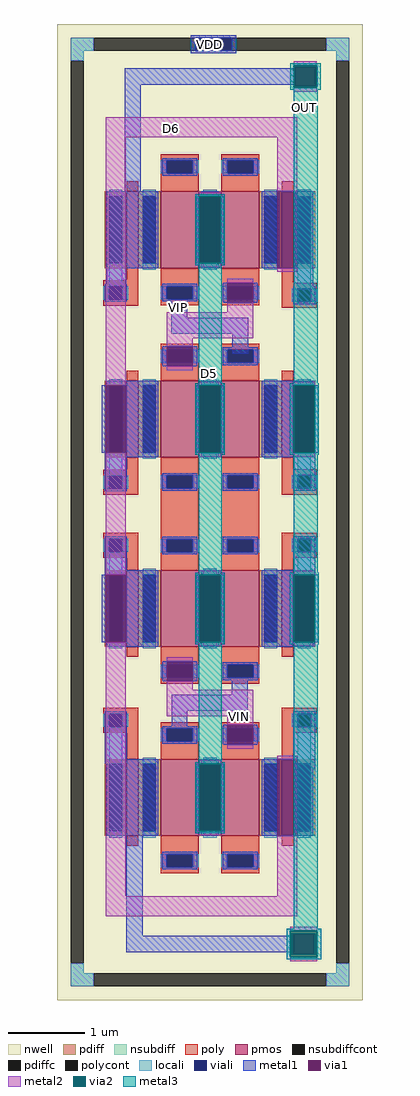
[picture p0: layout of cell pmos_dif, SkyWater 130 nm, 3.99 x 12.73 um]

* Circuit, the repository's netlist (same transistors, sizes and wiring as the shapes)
* NGSPICE file created from pmos_dif.ext - technology: sky130A

.subckt sky130_fd_pr__pfet_01v8_BHVYY6 w_n223_n200# a_n29_n100# a_n187_n100# a_29_n197#
+ a_n129_n197# a_129_n100#
X0 a_129_n100# a_29_n197# a_n29_n100# w_n223_n200# sky130_fd_pr__pfet_01v8 ad=0.29 pd=2.58 as=0.145 ps=1.29 w=1 l=0.5
X1 a_n29_n100# a_n129_n197# a_n187_n100# w_n223_n200# sky130_fd_pr__pfet_01v8 ad=0.145 pd=1.29 as=0.29 ps=2.58 w=1 l=0.5
.ends

.subckt sky130_fd_pr__pfet_01v8_2XUZHN a_n73_n100# w_n109_n162# a_15_n100# a_n15_n126#
X0 a_15_n100# a_n15_n126# a_n73_n100# w_n109_n162# sky130_fd_pr__pfet_01v8 ad=0.29 pd=2.58 as=0.29 ps=2.58 w=1 l=0.15
.ends

.subckt pmos_dif VDD D6 OUT VIP D5 VIN
Xsky130_fd_pr__pfet_01v8_BHVYY6_2 VDD D5 OUT VIN VIP D6 sky130_fd_pr__pfet_01v8_BHVYY6
Xsky130_fd_pr__pfet_01v8_BHVYY6_3 VDD D5 D6 VIP VIN OUT sky130_fd_pr__pfet_01v8_BHVYY6
Xsky130_fd_pr__pfet_01v8_2XUZHN_0 OUT VDD OUT OUT sky130_fd_pr__pfet_01v8_2XUZHN
Xsky130_fd_pr__pfet_01v8_2XUZHN_1 D6 VDD D6 D6 sky130_fd_pr__pfet_01v8_2XUZHN
Xsky130_fd_pr__pfet_01v8_2XUZHN_2 D6 VDD D6 D6 sky130_fd_pr__pfet_01v8_2XUZHN
Xsky130_fd_pr__pfet_01v8_2XUZHN_3 OUT VDD OUT OUT sky130_fd_pr__pfet_01v8_2XUZHN
Xsky130_fd_pr__pfet_01v8_2XUZHN_4 D6 VDD D6 D6 sky130_fd_pr__pfet_01v8_2XUZHN
Xsky130_fd_pr__pfet_01v8_2XUZHN_5 OUT VDD OUT OUT sky130_fd_pr__pfet_01v8_2XUZHN
Xsky130_fd_pr__pfet_01v8_2XUZHN_7 D6 VDD D6 D6 sky130_fd_pr__pfet_01v8_2XUZHN
Xsky130_fd_pr__pfet_01v8_2XUZHN_6 OUT VDD OUT OUT sky130_fd_pr__pfet_01v8_2XUZHN
Xsky130_fd_pr__pfet_01v8_BHVYY6_0 VDD D5 OUT VIN VIP D6 sky130_fd_pr__pfet_01v8_BHVYY6
Xsky130_fd_pr__pfet_01v8_BHVYY6_1 VDD D5 D6 VIP VIN OUT sky130_fd_pr__pfet_01v8_BHVYY6
.ends

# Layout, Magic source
magic
tech sky130A
magscale 1 2
<< nwell >>
rect -176 504 622 1231
rect -176 495 281 504
rect 323 495 622 504
rect -176 -1316 622 495
<< nsubdiff >>
rect -140 1161 -80 1195
rect 526 1161 586 1195
rect -140 1135 -106 1161
rect 552 1135 586 1161
rect -140 -1246 -106 -1220
rect 552 -1246 586 -1220
rect -140 -1280 -80 -1246
rect 526 -1280 586 -1246
<< nsubdiffcont >>
rect -80 1161 526 1195
rect -140 -1220 -106 1135
rect 552 -1220 586 1135
rect -80 -1280 526 -1246
<< poly >>
rect 6 562 36 595
rect -56 546 36 562
rect -56 512 -40 546
rect -6 512 36 546
rect -56 496 36 512
rect 410 556 440 585
rect 410 540 502 556
rect 410 506 452 540
rect 486 506 502 540
rect 410 490 502 506
rect 6 68 36 90
rect -56 52 36 68
rect -56 18 -40 52
rect -6 18 36 52
rect -56 2 36 18
rect 410 69 440 96
rect 410 53 502 69
rect 410 19 452 53
rect 486 19 502 53
rect -56 -112 36 -96
rect 94 -104 194 8
rect 252 -103 352 9
rect 410 3 502 19
rect -56 -146 -40 -112
rect -6 -146 36 -112
rect -56 -162 36 -146
rect 6 -194 36 -162
rect 410 -112 502 -96
rect 410 -146 452 -112
rect 486 -146 502 -112
rect 410 -162 502 -146
rect 410 -188 440 -162
rect -56 -569 36 -553
rect -56 -603 -40 -569
rect -6 -603 36 -569
rect -56 -619 36 -603
rect 6 -680 36 -619
rect 410 -569 502 -553
rect 410 -603 452 -569
rect 486 -603 502 -569
rect 410 -619 502 -603
rect 410 -672 441 -619
<< polycont >>
rect -40 512 -6 546
rect 452 506 486 540
rect -40 18 -6 52
rect 452 19 486 53
rect -40 -146 -6 -112
rect 452 -146 486 -112
rect -40 -603 -6 -569
rect 452 -603 486 -569
<< locali >>
rect -140 1161 -80 1195
rect 526 1161 586 1195
rect -140 1135 -106 1161
rect 552 1135 586 1161
rect -40 546 -6 595
rect -56 512 -40 546
rect -6 512 10 546
rect 452 540 486 609
rect 436 506 452 540
rect 486 506 502 540
rect -40 52 -6 107
rect 452 53 486 112
rect -56 18 -40 52
rect -6 18 10 52
rect 436 19 452 53
rect 486 19 502 53
rect -56 -146 -40 -112
rect -6 -146 10 -112
rect 436 -146 452 -112
rect 486 -146 502 -112
rect -40 -200 -6 -146
rect 452 -198 486 -146
rect -56 -603 -40 -569
rect -6 -603 10 -569
rect 436 -603 452 -569
rect 486 -603 502 -569
rect -40 -693 -6 -603
rect 452 -695 486 -603
rect -140 -1246 -106 -1220
rect 552 -1246 586 -1220
rect -140 -1280 -80 -1246
rect 526 -1280 586 -1246
<< viali >>
rect 185 1161 280 1195
rect -40 512 -6 546
rect 452 506 486 540
rect -40 18 -6 52
rect 452 19 486 53
rect -40 -146 -6 -112
rect 452 -146 486 -112
rect -40 -603 -6 -569
rect 452 -603 486 -569
<< metal1 >>
rect 173 1195 292 1201
rect 173 1161 185 1195
rect 280 1161 292 1195
rect 173 1155 292 1161
rect 440 1115 446 1120
rect 0 1073 446 1115
rect 0 794 42 1073
rect 440 1068 446 1073
rect 498 1068 504 1120
rect -46 594 88 794
rect 187 606 197 782
rect 249 606 259 782
rect 358 594 399 794
rect 451 594 492 794
rect -46 552 4 594
rect -52 546 6 552
rect -52 512 -40 546
rect -6 512 6 546
rect -52 506 6 512
rect 122 465 164 513
rect 258 504 268 556
rect 336 504 346 556
rect 442 546 492 594
rect 440 540 498 546
rect 440 506 452 540
rect 486 506 498 540
rect 440 500 498 506
rect 122 423 323 465
rect 100 338 110 390
rect 178 338 188 390
rect 281 371 323 423
rect -46 288 88 300
rect 358 288 492 300
rect -59 112 -49 288
rect 3 112 88 288
rect 187 112 197 288
rect 249 112 259 288
rect 358 112 443 288
rect 495 112 505 288
rect -52 100 88 112
rect 358 100 498 112
rect -52 52 6 100
rect -52 18 -40 52
rect -6 18 6 52
rect -52 12 6 18
rect 440 53 498 100
rect 440 19 452 53
rect 486 19 498 53
rect 440 13 498 19
rect -52 -112 6 -106
rect -52 -146 -40 -112
rect -6 -146 6 -112
rect -52 -194 6 -146
rect 440 -112 498 -106
rect 440 -146 452 -112
rect 486 -146 498 -112
rect 440 -194 498 -146
rect -52 -206 88 -194
rect 358 -206 498 -194
rect -59 -382 -49 -206
rect 3 -382 88 -206
rect 187 -382 197 -206
rect 249 -382 259 -206
rect 358 -382 443 -206
rect 495 -382 505 -206
rect -46 -394 88 -382
rect 358 -394 492 -382
rect 100 -484 110 -432
rect 178 -484 188 -432
rect 280 -520 321 -478
rect 123 -561 321 -520
rect -52 -569 6 -563
rect -52 -603 -40 -569
rect -6 -603 6 -569
rect -52 -688 6 -603
rect 123 -607 164 -561
rect 440 -569 498 -563
rect 258 -650 268 -598
rect 336 -650 346 -598
rect 440 -603 452 -569
rect 486 -603 498 -569
rect 440 -688 498 -603
rect -52 -698 88 -688
rect -46 -888 88 -698
rect 187 -876 197 -700
rect 249 -876 259 -700
rect 358 -888 399 -688
rect 451 -711 498 -688
rect 451 -888 492 -711
rect 4 -1148 48 -888
rect 436 -1148 442 -1144
rect 4 -1192 442 -1148
rect 436 -1196 442 -1192
rect 494 -1196 500 -1144
<< via1 >>
rect 446 1068 498 1120
rect 197 606 249 782
rect 399 594 451 794
rect 268 504 336 556
rect 110 338 178 390
rect -49 112 3 288
rect 197 112 249 288
rect 443 112 495 288
rect -49 -382 3 -206
rect 197 -382 249 -206
rect 443 -382 495 -206
rect 110 -484 178 -432
rect 268 -650 336 -598
rect 197 -876 249 -700
rect 399 -888 451 -688
rect 442 -1196 494 -1144
<< metal2 >>
rect 442 1124 502 1134
rect 442 1054 502 1064
rect -49 935 451 987
rect -49 288 3 935
rect 399 794 451 935
rect 195 782 251 792
rect 195 596 251 606
rect 399 584 451 594
rect 268 556 336 566
rect 268 479 336 504
rect 110 411 336 479
rect 110 390 178 411
rect 110 328 178 338
rect -49 -206 3 112
rect 195 288 251 298
rect 195 102 251 112
rect 441 288 497 298
rect 441 102 497 112
rect -49 -1045 3 -382
rect 195 -206 251 -196
rect 195 -392 251 -382
rect 441 -206 497 -196
rect 441 -392 497 -382
rect 110 -432 178 -422
rect 110 -507 178 -484
rect 110 -575 336 -507
rect 268 -598 336 -575
rect 268 -660 336 -650
rect 399 -688 451 -678
rect 195 -700 251 -690
rect 195 -886 251 -876
rect 399 -1045 451 -888
rect -49 -1097 451 -1045
rect 433 -1135 503 -1125
rect 433 -1215 503 -1205
<< via2 >>
rect 442 1120 502 1124
rect 442 1068 446 1120
rect 446 1068 498 1120
rect 498 1068 502 1120
rect 442 1064 502 1068
rect 195 606 197 782
rect 197 606 249 782
rect 249 606 251 782
rect 195 112 197 288
rect 197 112 249 288
rect 249 112 251 288
rect 441 112 443 288
rect 443 112 495 288
rect 495 112 497 288
rect 195 -382 197 -206
rect 197 -382 249 -206
rect 249 -382 251 -206
rect 441 -382 443 -206
rect 443 -382 495 -206
rect 495 -382 497 -206
rect 195 -876 197 -700
rect 197 -876 249 -700
rect 249 -876 251 -700
rect 433 -1144 503 -1135
rect 433 -1196 442 -1144
rect 442 -1196 494 -1144
rect 494 -1196 503 -1144
rect 433 -1205 503 -1196
<< metal3 >>
rect 432 1124 512 1129
rect 432 1064 442 1124
rect 502 1064 512 1124
rect 432 1059 512 1064
rect 185 782 261 787
rect 185 606 195 782
rect 251 606 261 782
rect 185 601 261 606
rect 194 293 254 601
rect 442 293 504 1059
rect 185 288 261 293
rect 185 112 195 288
rect 251 112 261 288
rect 185 107 261 112
rect 431 288 507 293
rect 431 112 441 288
rect 497 112 507 288
rect 431 107 507 112
rect 194 -201 254 107
rect 442 -201 504 107
rect 185 -206 261 -201
rect 185 -382 195 -206
rect 251 -382 261 -206
rect 185 -387 261 -382
rect 431 -206 507 -201
rect 431 -382 441 -206
rect 497 -382 507 -206
rect 431 -387 507 -382
rect 194 -695 254 -387
rect 185 -700 261 -695
rect 185 -876 195 -700
rect 251 -876 261 -700
rect 185 -881 261 -876
rect 442 -1130 504 -387
rect 423 -1135 513 -1130
rect 423 -1205 433 -1135
rect 503 -1205 513 -1135
rect 423 -1210 513 -1205
use sky130_fd_pr__pfet_01v8_2XUZHN  sky130_fd_pr__pfet_01v8_2XUZHN_0
transform 1 0 425 0 1 200
box -109 -162 109 162
use sky130_fd_pr__pfet_01v8_2XUZHN  sky130_fd_pr__pfet_01v8_2XUZHN_1
transform 1 0 21 0 1 200
box -109 -162 109 162
use sky130_fd_pr__pfet_01v8_2XUZHN  sky130_fd_pr__pfet_01v8_2XUZHN_2
transform 1 0 425 0 1 -788
box -109 -162 109 162
use sky130_fd_pr__pfet_01v8_2XUZHN  sky130_fd_pr__pfet_01v8_2XUZHN_3
transform 1 0 21 0 1 -788
box -109 -162 109 162
use sky130_fd_pr__pfet_01v8_2XUZHN  sky130_fd_pr__pfet_01v8_2XUZHN_4
transform 1 0 21 0 1 -294
box -109 -162 109 162
use sky130_fd_pr__pfet_01v8_2XUZHN  sky130_fd_pr__pfet_01v8_2XUZHN_5
transform 1 0 425 0 1 -294
box -109 -162 109 162
use sky130_fd_pr__pfet_01v8_2XUZHN  sky130_fd_pr__pfet_01v8_2XUZHN_6
transform 1 0 21 0 1 694
box -109 -162 109 162
use sky130_fd_pr__pfet_01v8_2XUZHN  sky130_fd_pr__pfet_01v8_2XUZHN_7
transform 1 0 425 0 1 694
box -109 -162 109 162
use sky130_fd_pr__pfet_01v8_BHVYY6  sky130_fd_pr__pfet_01v8_BHVYY6_0
transform 1 0 223 0 1 -788
box -223 -200 223 200
use sky130_fd_pr__pfet_01v8_BHVYY6  sky130_fd_pr__pfet_01v8_BHVYY6_1
transform 1 0 223 0 1 200
box -223 -200 223 200
use sky130_fd_pr__pfet_01v8_BHVYY6  sky130_fd_pr__pfet_01v8_BHVYY6_2
transform 1 0 223 0 1 694
box -223 -200 223 200
use sky130_fd_pr__pfet_01v8_BHVYY6  sky130_fd_pr__pfet_01v8_BHVYY6_3
transform 1 0 223 0 1 -294
box -223 -200 223 200
<< labels >>
flabel viali 222 1177 222 1177 0 FreeSans 800 0 0 0 VDD
port 0 nsew
flabel metal2 123 959 123 959 0 FreeSans 800 0 0 0 D6
port 1 nsew
flabel metal3 469 1013 469 1013 0 FreeSans 800 0 0 0 OUT
port 2 nsew
flabel metal1 142 491 142 491 0 FreeSans 800 0 0 0 VIP
port 3 nsew
flabel metal3 221 318 221 318 0 FreeSans 800 0 0 0 D5
port 4 nsew
flabel metal2 301 -577 301 -577 0 FreeSans 800 0 0 0 VIN
port 5 nsew
<< end >>

# cell sky130_fd_pr__pfet_01v8_2XUZHN: kit device sky130_fd_pr__pfet_01v8, w 1 l 0.15 m 1 nf 1 diffcov 100 polycov 100 guard 0 glc 1 grc 1 gtc 1 gbc 1 tbcov 100 rlcov 100 topc 0 botc 0 poverlap 0 doverlap 1 lmin 0.15 wmin 0.42 compatible {sky130_fd_pr__pfet_01v8 sky130_fd_pr__pfet_01v8_lvt sky130_fd_pr__pfet_01v8_hvt sky130_fd_pr__pfet_g5v0d10v5} full_metal 1 viasrc 100 viadrn 100 viagate 100 viagb 0 viagr 0 viagl 0 viagt 0

# cell sky130_fd_pr__pfet_01v8_BHVYY6: kit device sky130_fd_pr__pfet_01v8, w 1 l 0.5 m 1 nf 2 diffcov 100 polycov 100 guard 0 glc 1 grc 1 gtc 1 gbc 1 tbcov 100 rlcov 100 topc 1 botc 1 poverlap 0 doverlap 1 lmin 0.15 wmin 0.42 compatible {sky130_fd_pr__pfet_01v8 sky130_fd_pr__pfet_01v8_lvt sky130_fd_pr__pfet_01v8_hvt sky130_fd_pr__pfet_g5v0d10v5} full_metal 1 viasrc 100 viadrn 100 viagate 100 viagb 0 viagr 0 viagl 0 viagt 0
